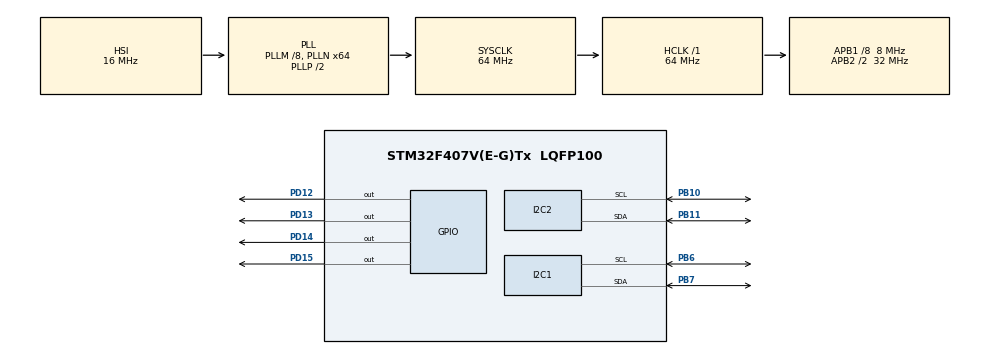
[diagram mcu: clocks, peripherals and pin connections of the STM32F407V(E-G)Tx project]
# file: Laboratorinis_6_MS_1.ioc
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I2C1.OwnAddress=15
I2C2.OwnAddress=20
Mcu.Family=STM32F4
Mcu.Name=STM32F407V(E-G)Tx
Mcu.Package=LQFP100
NVIC.PriorityGroup=NVIC_PRIORITYGROUP_0
PA13.Mode=Trace_Asynchronous_SW
PA13.Signal=SYS_JTMS-SWDIO
PA14.Mode=Trace_Asynchronous_SW
PA14.Signal=SYS_JTCK-SWCLK
PB10.GPIO_Pu=GPIO_PULLUP
PB10.Mode=I2C
PB10.Signal=I2C2_SCL
PB11.GPIO_Pu=GPIO_PULLUP
PB11.Mode=I2C
PB11.Signal=I2C2_SDA
PB3.Mode=Trace_Asynchronous_SW
PB3.Signal=SYS_JTDO-SWO
PB6.GPIO_Pu=GPIO_PULLUP
PB6.Mode=I2C
PB6.Signal=I2C1_SCL
PB7.GPIO_Pu=GPIO_PULLUP
PB7.Mode=I2C
PB7.Signal=I2C1_SDA
PD12.Signal=GPIO_Output
PD13.Signal=GPIO_Output
PD14.Signal=GPIO_Output
PD15.Signal=GPIO_Output
ProjectManager.HeapSize=0x200
ProjectManager.StackSize=0x400
ProjectManager.TargetToolchain=STM32CubeIDE
RCC.48MHZClocksFreq_Value=18285714.285714287
RCC.AHBFreq_Value=64000000
RCC.APB1CLKDivider=RCC_HCLK_DIV8
RCC.APB1Freq_Value=8000000
RCC.APB1TimFreq_Value=16000000
RCC.APB2CLKDivider=RCC_HCLK_DIV2
RCC.APB2Freq_Value=32000000
RCC.APB2TimFreq_Value=64000000
RCC.CortexFreq_Value=64000000
RCC.HCLKFreq_Value=64000000
RCC.HSE_VALUE=8000000
RCC.HSI_VALUE=16000000
RCC.LSE_VALUE=32768
RCC.PLLM=8
RCC.PLLN=64
RCC.PLLQ=7
RCC.SYSCLKFreq_VALUE=64000000
RCC.SYSCLKSource=RCC_SYSCLKSOURCE_PLLCLK
RCC.VCOOutputFreq_Value=128000000
board=STM32F407G-DISC1

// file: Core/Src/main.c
/* USER CODE BEGIN Header */
/**
  ******************************************************************************
  * @file           : main.c
  * @brief          : Main program body
  ******************************************************************************
  * @attention
  *
  * Copyright (c) 2023 STMicroelectronics.
  * All rights reserved.
  *
  * This software is licensed under terms that can be found in the LICENSE file
  * in the root directory of this software component.
  * If no LICENSE file comes with this software, it is provided AS-IS.
  *
  ******************************************************************************
  */
/* USER CODE END Header */
#include "main.h"

I2C_HandleTypeDef hi2c1;
I2C_HandleTypeDef hi2c2;

/* USER CODE BEGIN PV */
uint8_t tx = 0xB;
uint8_t tx1[3] = {0x5, 0x9, 0xF};
HAL_StatusTypeDef ret;
HAL_StatusTypeDef ret1;
int programSwitch = 1;
/* USER CODE END PV */

void SystemClock_Config(void);
static void MX_GPIO_Init(void);
static void MX_I2C1_Init(void);
static void MX_I2C2_Init(void);

int main(void)
{

  /* MCU Configuration--------------------------------------------------------*/

  /* Reset of all peripherals, Initializes the Flash interface and the Systick. */
  HAL_Init();

  /* Configure the system clock */
  SystemClock_Config();

  /* Initialize all configured peripherals */
  MX_GPIO_Init();
  MX_I2C1_Init();
  MX_I2C2_Init();
  /* USER CODE BEGIN 2 */
  if(programSwitch == 2)
  {
	  ret1 = HAL_I2C_IsDeviceReady(&hi2c2, 20<<1, 1000, 1000);
	    if(ret1 == HAL_OK)
	    {
	  	HAL_I2C_Master_Transmit(&hi2c2, 20<<1, tx1, 3, 100);
	  	HAL_GPIO_WritePin(GPIOD, GPIO_PIN_12, SET);
	  	HAL_GPIO_WritePin(GPIOD, GPIO_PIN_14, RESET);
	    }
	    else
	    {
	  	HAL_GPIO_WritePin(GPIOD, GPIO_PIN_14, SET);
	  	HAL_GPIO_WritePin(GPIOD, GPIO_PIN_12, RESET);
	    }
  }

  /* USER CODE END 2 */

  /* Infinite loop */
  /* USER CODE BEGIN WHILE */
  while (1)
  {

	  if(programSwitch == 1)
	  {
		  ret = HAL_I2C_IsDeviceReady(&hi2c1, 15<<1, 100, 100);
		  	  if(ret == HAL_OK)
		  	  {
		  		HAL_I2C_Master_Transmit(&hi2c1, 15<<1, &tx, 1, 100);
		  		HAL_GPIO_WritePin(GPIOD, GPIO_PIN_12, SET);
		  		HAL_GPIO_WritePin(GPIOD, GPIO_PIN_14, RESET);
		  	  }
		  	  else
		  	  {
		  		HAL_GPIO_WritePin(GPIOD, GPIO_PIN_14, SET);
		  		HAL_GPIO_WritePin(GPIOD, GPIO_PIN_12, RESET);
		  	  }
	  }

    /* USER CODE END WHILE */

  }
}

void SystemClock_Config(void)
{
  RCC_OscInitTypeDef RCC_OscInitStruct = {0};
  RCC_ClkInitTypeDef RCC_ClkInitStruct = {0};

  /** Configure the main internal regulator output voltage
  */
  __HAL_RCC_PWR_CLK_ENABLE();
  __HAL_PWR_VOLTAGESCALING_CONFIG(PWR_REGULATOR_VOLTAGE_SCALE1);

  /** Initializes the RCC Oscillators according to the specified parameters
  * in the RCC_OscInitTypeDef structure.
  */
  RCC_OscInitStruct.OscillatorType = RCC_OSCILLATORTYPE_HSI;
  RCC_OscInitStruct.HSIState = RCC_HSI_ON;
  RCC_OscInitStruct.HSICalibrationValue = RCC_HSICALIBRATION_DEFAULT;
  RCC_OscInitStruct.PLL.PLLState = RCC_PLL_ON;
  RCC_OscInitStruct.PLL.PLLSource = RCC_PLLSOURCE_HSI;
  RCC_OscInitStruct.PLL.PLLM = 8;
  RCC_OscInitStruct.PLL.PLLN = 64;
  RCC_OscInitStruct.PLL.PLLP = RCC_PLLP_DIV2;
  RCC_OscInitStruct.PLL.PLLQ = 7;
  if (HAL_RCC_OscConfig(&RCC_OscInitStruct) != HAL_OK)
  {
    Error_Handler();
  }

  /** Initializes the CPU, AHB and APB buses clocks
  */
  RCC_ClkInitStruct.ClockType = RCC_CLOCKTYPE_HCLK|RCC_CLOCKTYPE_SYSCLK
                              |RCC_CLOCKTYPE_PCLK1|RCC_CLOCKTYPE_PCLK2;
  RCC_ClkInitStruct.SYSCLKSource = RCC_SYSCLKSOURCE_PLLCLK;
  RCC_ClkInitStruct.AHBCLKDivider = RCC_SYSCLK_DIV1;
  RCC_ClkInitStruct.APB1CLKDivider = RCC_HCLK_DIV8;
  RCC_ClkInitStruct.APB2CLKDivider = RCC_HCLK_DIV2;

  if (HAL_RCC_ClockConfig(&RCC_ClkInitStruct, FLASH_LATENCY_2) != HAL_OK)
  {
    Error_Handler();
  }
}

static void MX_I2C1_Init(void)
{

  hi2c1.Instance = I2C1;
  hi2c1.Init.ClockSpeed = 100000;
  hi2c1.Init.DutyCycle = I2C_DUTYCYCLE_2;
  hi2c1.Init.OwnAddress1 = 30;
  hi2c1.Init.AddressingMode = I2C_ADDRESSINGMODE_7BIT;
  hi2c1.Init.DualAddressMode = I2C_DUALADDRESS_DISABLE;
  hi2c1.Init.OwnAddress2 = 0;
  hi2c1.Init.GeneralCallMode = I2C_GENERALCALL_DISABLE;
  hi2c1.Init.NoStretchMode = I2C_NOSTRETCH_DISABLE;
  if (HAL_I2C_Init(&hi2c1) != HAL_OK)
  {
    Error_Handler();
  }

}

static void MX_I2C2_Init(void)
{

  hi2c2.Instance = I2C2;
  hi2c2.Init.ClockSpeed = 100000;
  hi2c2.Init.DutyCycle = I2C_DUTYCYCLE_2;
  hi2c2.Init.OwnAddress1 = 40;
  hi2c2.Init.AddressingMode = I2C_ADDRESSINGMODE_7BIT;
  hi2c2.Init.DualAddressMode = I2C_DUALADDRESS_DISABLE;
  hi2c2.Init.OwnAddress2 = 0;
  hi2c2.Init.GeneralCallMode = I2C_GENERALCALL_DISABLE;
  hi2c2.Init.NoStretchMode = I2C_NOSTRETCH_DISABLE;
  if (HAL_I2C_Init(&hi2c2) != HAL_OK)
  {
    Error_Handler();
  }

}

static void MX_GPIO_Init(void)
{
  GPIO_InitTypeDef GPIO_InitStruct = {0};

  /* GPIO Ports Clock Enable */
  __HAL_RCC_GPIOB_CLK_ENABLE();
  __HAL_RCC_GPIOD_CLK_ENABLE();
  __HAL_RCC_GPIOA_CLK_ENABLE();

  /*Configure GPIO pin Output Level */
  HAL_GPIO_WritePin(GPIOD, GPIO_PIN_12|GPIO_PIN_13|GPIO_PIN_14|GPIO_PIN_15, GPIO_PIN_RESET);

  /*Configure GPIO pins : PD12 PD13 PD14 PD15 */
  GPIO_InitStruct.Pin = GPIO_PIN_12|GPIO_PIN_13|GPIO_PIN_14|GPIO_PIN_15;
  GPIO_InitStruct.Mode = GPIO_MODE_OUTPUT_PP;
  GPIO_InitStruct.Pull = GPIO_NOPULL;
  GPIO_InitStruct.Speed = GPIO_SPEED_FREQ_LOW;
  HAL_GPIO_Init(GPIOD, &GPIO_InitStruct);

}

void Error_Handler(void)
{
  __disable_irq();
  while (1)
  {
  }
}
